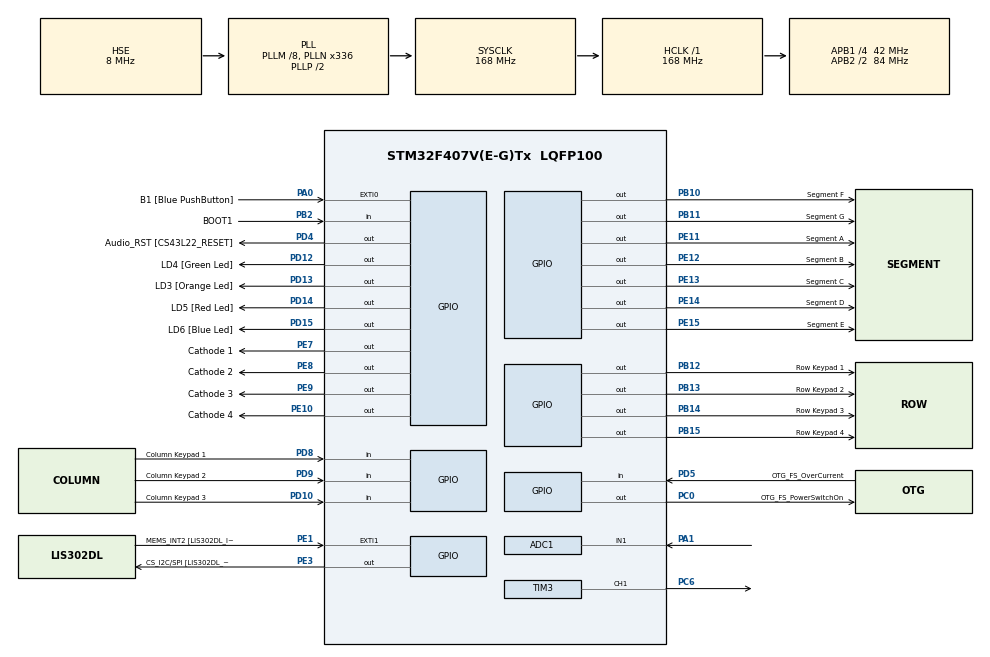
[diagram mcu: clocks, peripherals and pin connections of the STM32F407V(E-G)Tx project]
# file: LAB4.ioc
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ADC1.Channel-0\#ChannelRegularConversion=ADC_CHANNEL_1
ADC1.ClockPrescaler=ADC_CLOCK_SYNC_PCLK_DIV4
ADC1.ContinuousConvMode=DISABLE
ADC1.DMAContinuousRequests=DISABLE
ADC1.DataAlign=ADC_DATAALIGN_RIGHT
ADC1.DiscontinuousConvMode=DISABLE
ADC1.EOCSelection=ADC_EOC_SINGLE_CONV
ADC1.EnableAnalogWatchDog=false
ADC1.ExternalTrigConv=ADC_EXTERNALTRIGCONV_T3_TRGO
ADC1.ExternalTrigConvEdge=ADC_EXTERNALTRIGCONVEDGE_RISINGFALLING
ADC1.InjNumberOfConversion=0
ADC1.NbrOfConversion=1
ADC1.NbrOfConversionFlag=1
ADC1.Rank-0\#ChannelRegularConversion=1
ADC1.Resolution=ADC_RESOLUTION_8B
ADC1.SamplingTime-0\#ChannelRegularConversion=ADC_SAMPLETIME_3CYCLES
ADC1.ScanConvMode=DISABLE
ADC1.master=1
FREERTOS.BinarySemaphores01=myBinarySem01,Dynamic,NULL
FREERTOS.Tasks01=defaultTask,0,128,StartDefaultTask,Default,NULL,Dynamic,NULL,NULL;myTask02,-3,128,StartTask02,Default,NULL,Dynamic,NULL,NULL;myTask03,2,256,StartTask03,Default,NULL,Dynamic,NULL,NULL
Mcu.Family=STM32F4
Mcu.Name=STM32F407V(E-G)Tx
Mcu.Package=LQFP100
NVIC.ADC_IRQn=true\:5\:0\:false\:false\:true\:true\:true
NVIC.PriorityGroup=NVIC_PRIORITYGROUP_4
PA0-WKUP.GPIO_Label=B1 [Blue PushButton]
PA0-WKUP.Signal=GPXTI0
PA1.Signal=ADCx_IN1
PA10.GPIO_Label=OTG_FS_ID
PA10.GPIO_Mode=GPIO_MODE_AF_PP
PA10.GPIO_PuPd=GPIO_NOPULL
PA10.GPIO_Speed=GPIO_SPEED_FREQ_LOW
PA10.Signal=USB_OTG_FS_ID
PA11.GPIO_Label=OTG_FS_DM
PA11.GPIO_Mode=GPIO_MODE_AF_PP
PA11.GPIO_PuPd=GPIO_NOPULL
PA11.GPIO_Speed=GPIO_SPEED_FREQ_LOW
PA11.Signal=USB_OTG_FS_DM
PA12.GPIO_Label=OTG_FS_DP
PA12.GPIO_Mode=GPIO_MODE_AF_PP
PA12.GPIO_PuPd=GPIO_NOPULL
PA12.GPIO_Speed=GPIO_SPEED_FREQ_LOW
PA12.Signal=USB_OTG_FS_DP
PA13.GPIO_Label=SWDIO
PA13.Signal=SYS_JTMS-SWDIO
PA14.GPIO_Label=SWCLK
PA14.Signal=SYS_JTCK-SWCLK
PA4.GPIO_Label=I2S3_WS [CS43L22_LRCK]
PA4.GPIO_Mode=GPIO_MODE_AF_PP
PA4.GPIO_PuPd=GPIO_NOPULL
PA4.GPIO_Speed=GPIO_SPEED_FREQ_LOW
PA4.Signal=I2S3_WS
PA5.GPIO_Label=SPI1_SCK [LIS302DL_SCL/SPC]
PA5.GPIO_Mode=GPIO_MODE_AF_PP
PA5.GPIO_PuPd=GPIO_NOPULL
PA5.GPIO_Speed=GPIO_SPEED_FREQ_LOW
PA5.Signal=SPI1_SCK
PA6.GPIO_Label=SPI1_MISO [LIS302DL_SDO]
PA6.GPIO_Mode=GPIO_MODE_AF_PP
PA6.GPIO_PuPd=GPIO_NOPULL
PA6.GPIO_Speed=GPIO_SPEED_FREQ_LOW
PA6.Signal=SPI1_MISO
PA7.GPIO_Label=SPI1_MOSI [LIS302DL_SDA/SDI/SDO]
PA7.GPIO_Mode=GPIO_MODE_AF_PP
PA7.GPIO_PuPd=GPIO_NOPULL
PA7.GPIO_Speed=GPIO_SPEED_FREQ_LOW
PA7.Signal=SPI1_MOSI
PA9.GPIO_Label=VBUS_FS
PA9.GPIO_Mode=GPIO_MODE_INPUT
PA9.GPIO_PuPd=GPIO_NOPULL
PA9.Signal=USB_OTG_FS_VBUS
PB10.GPIO_Label=Segment F
PB10.Signal=GPIO_Output
PB11.GPIO_Label=Segment G
PB11.Signal=GPIO_Output
PB12.GPIO_Label=Row Keypad 1
PB12.Signal=GPIO_Output
PB13.GPIO_Label=Row Keypad 2
PB13.Signal=GPIO_Output
PB14.GPIO_Label=Row Keypad 3
PB14.Signal=GPIO_Output
PB15.GPIO_Label=Row Keypad 4
PB15.Signal=GPIO_Output
PB2.GPIO_Label=BOOT1
PB2.GPIO_Mode=GPIO_MODE_INPUT
PB2.GPIO_PuPd=GPIO_NOPULL
PB2.Signal=GPIO_Input
PB3.GPIO_Label=SWO
PB3.Signal=SYS_JTDO-SWO
PB6.GPIO_Label=Audio_SCL [CS43L22_SCL]
PB6.GPIO_Mode=GPIO_MODE_AF_OD
PB6.GPIO_PuPd=GPIO_NOPULL
PB6.GPIO_Speed=GPIO_SPEED_FREQ_LOW
PB6.Signal=I2C1_SCL
PB9.GPIO_Label=Audio_SDA [CS43L22_SDA]
PB9.GPIO_Mode=GPIO_MODE_AF_OD
PB9.GPIO_PuPd=GPIO_NOPULL
PB9.GPIO_Speed=GPIO_SPEED_FREQ_LOW
PB9.Signal=I2C1_SDA
PC0.GPIO_Label=OTG_FS_PowerSwitchOn
PC0.GPIO_PuPd=GPIO_NOPULL
PC0.GPIO_Speed=GPIO_SPEED_FREQ_LOW
PC0.PinState=GPIO_PIN_SET
PC0.Signal=GPIO_Output
PC10.GPIO_Label=I2S3_SCK [CS43L22_SCLK]
PC10.GPIO_Mode=GPIO_MODE_AF_PP
PC10.GPIO_PuPd=GPIO_NOPULL
PC10.GPIO_Speed=GPIO_SPEED_FREQ_LOW
PC10.Signal=I2S3_CK
PC12.GPIO_Label=I2S3_SD [CS43L22_SDIN]
PC12.GPIO_Mode=GPIO_MODE_AF_PP
PC12.GPIO_PuPd=GPIO_NOPULL
PC12.GPIO_Speed=GPIO_SPEED_FREQ_LOW
PC12.Signal=I2S3_SD
PC14-OSC32_IN.GPIO_Label=PC14-OSC32_IN
PC14-OSC32_IN.Signal=RCC_OSC32_IN
PC15-OSC32_OUT.GPIO_Label=PC15-OSC32_OUT
PC15-OSC32_OUT.Signal=RCC_OSC32_OUT
PC3.GPIO_Label=PDM_OUT [MP45DT02_DOUT]
PC3.GPIO_Mode=GPIO_MODE_AF_PP
PC3.GPIO_PuPd=GPIO_NOPULL
PC3.GPIO_Speed=GPIO_SPEED_FREQ_LOW
PC3.Signal=I2S2_SD
PC6.Signal=S_TIM3_CH1
PC7.GPIO_Label=I2S3_MCK [CS43L22_MCLK]
PC7.GPIO_Mode=GPIO_MODE_AF_PP
PC7.GPIO_PuPd=GPIO_NOPULL
PC7.GPIO_Speed=GPIO_SPEED_FREQ_LOW
PC7.Signal=I2S3_MCK
PD10.GPIO_Label=Column Keypad 3
PD10.Signal=GPIO_Input
PD12.GPIO_Label=LD4 [Green Led]
PD12.GPIO_PuPd=GPIO_NOPULL
PD12.GPIO_Speed=GPIO_SPEED_FREQ_LOW
PD12.Signal=GPIO_Output
PD13.GPIO_Label=LD3 [Orange Led]
PD13.GPIO_PuPd=GPIO_NOPULL
PD13.GPIO_Speed=GPIO_SPEED_FREQ_LOW
PD13.Signal=GPIO_Output
PD14.GPIO_Label=LD5 [Red Led]
PD14.GPIO_PuPd=GPIO_NOPULL
PD14.GPIO_Speed=GPIO_SPEED_FREQ_LOW
PD14.Signal=GPIO_Output
PD15.GPIO_Label=LD6 [Blue Led]
PD15.GPIO_PuPd=GPIO_NOPULL
PD15.GPIO_Speed=GPIO_SPEED_FREQ_LOW
PD15.Signal=GPIO_Output
PD4.GPIO_Label=Audio_RST [CS43L22_RESET]
PD4.GPIO_PuPd=GPIO_NOPULL
PD4.GPIO_Speed=GPIO_SPEED_FREQ_LOW
PD4.Signal=GPIO_Output
PD5.GPIO_Label=OTG_FS_OverCurrent
PD5.GPIO_Mode=GPIO_MODE_INPUT
PD5.GPIO_PuPd=GPIO_NOPULL
PD5.Signal=GPIO_Input
PD8.GPIO_Label=Column Keypad 1
PD8.Signal=GPIO_Input
PD9.GPIO_Label=Column Keypad 2
PD9.Signal=GPIO_Input
PE1.GPIO_Label=MEMS_INT2 [LIS302DL_INT2]
PE1.GPIO_ModeDefaultEXTI=GPIO_MODE_EVT_RISING
PE1.GPIO_PuPd=GPIO_NOPULL
PE1.Signal=GPXTI1
PE10.GPIO_Label=Cathode 4
PE10.Signal=GPIO_Output
PE11.GPIO_Label=Segment A
PE11.Signal=GPIO_Output
PE12.GPIO_Label=Segment B
PE12.Signal=GPIO_Output
PE13.GPIO_Label=Segment C
PE13.Signal=GPIO_Output
PE14.GPIO_Label=Segment D
PE14.Signal=GPIO_Output
PE15.GPIO_Label=Segment E
PE15.Signal=GPIO_Output
PE3.GPIO_Label=CS_I2C/SPI [LIS302DL_CS_I2C/SPI]
PE3.GPIO_PuPd=GPIO_NOPULL
PE3.GPIO_Speed=GPIO_SPEED_FREQ_LOW
PE3.Signal=GPIO_Output
PE7.GPIO_Label=Cathode 1
PE7.Signal=GPIO_Output
PE8.GPIO_Label=Cathode 2
PE8.Signal=GPIO_Output
PE9.GPIO_Label=Cathode 3
PE9.Signal=GPIO_Output
PH0-OSC_IN.GPIO_Label=PH0-OSC_IN
PH0-OSC_IN.Mode=HSE-External-Oscillator
PH0-OSC_IN.Signal=RCC_OSC_IN
PH1-OSC_OUT.GPIO_Label=PH1-OSC_OUT
PH1-OSC_OUT.Mode=HSE-External-Oscillator
PH1-OSC_OUT.Signal=RCC_OSC_OUT
ProjectManager.HeapSize=0x200
ProjectManager.StackSize=0x400
ProjectManager.TargetToolchain=MDK-ARM V5
RCC.48MHZClocksFreq_Value=48000000
RCC.AHBFreq_Value=168000000
RCC.APB1CLKDivider=RCC_HCLK_DIV4
RCC.APB1Freq_Value=42000000
RCC.APB1TimFreq_Value=84000000
RCC.APB2CLKDivider=RCC_HCLK_DIV2
RCC.APB2Freq_Value=84000000
RCC.APB2TimFreq_Value=168000000
RCC.CortexFreq_Value=168000000
RCC.HCLKFreq_Value=168000000
RCC.HSE_VALUE=8000000
RCC.HSI_VALUE=16000000
RCC.LSE_VALUE=32768
RCC.PLLM=8
RCC.PLLN=336
RCC.PLLQ=7
RCC.PLLSourceVirtual=RCC_PLLSOURCE_HSE
RCC.SYSCLKFreq_VALUE=168000000
RCC.SYSCLKSource=RCC_SYSCLKSOURCE_PLLCLK
RCC.VCOOutputFreq_Value=336000000
SH.ADCx_IN1.0=ADC1_IN1,IN1
SH.S_TIM3_CH1.0=TIM3_CH1,PWM Generation1 CH1
TIM3.Channel-PWM\ Generation1\ CH1=TIM_CHANNEL_1
TIM3.TIM_MasterOutputTrigger=TIM_TRGO_UPDATE
VP_FREERTOS_VS_ENABLE.Mode=Enabled
VP_TIM3_VS_ClockSourceINT.Mode=Internal
board=STM32F4DISCOVERY

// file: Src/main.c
/**
  ******************************************************************************
  * File Name          : main.c
  * Description        : Main program body
  ******************************************************************************
  * This notice applies to any and all portions of this file
  * that are not between comment pairs USER CODE BEGIN and
  * USER CODE END. Other portions of this file, whether
  * inserted by the user or by software development tools
  * are owned by their respective copyright owners.
  *
  * Copyright (c) 2018 STMicroelectronics International N.V.
  * All rights reserved.
  *
  * Redistribution and use in source and binary forms, with or without
  * modification, are permitted, provided that the following conditions are met:
  *
  * 1. Redistribution of source code must retain the above copyright notice,
  *    this list of conditions and the following disclaimer.
  * 2. Redistributions in binary form must reproduce the above copyright notice,
  *    this list of conditions and the following disclaimer in the documentation
  *    and/or other materials provided with the distribution.
  * 3. Neither the name of STMicroelectronics nor the names of other
  *    contributors to this software may be used to endorse or promote products
  *    derived from this software without specific written permission.
  * 4. This software, including modifications and/or derivative works of this
  *    software, must execute solely and exclusively on microcontroller or
  *    microprocessor devices manufactured by or for STMicroelectronics.
  * 5. Redistribution and use of this software other than as permitted under
  *    this license is void and will automatically terminate your rights under
  *    this license.
  *
  * THIS SOFTWARE IS PROVIDED BY STMICROELECTRONICS AND CONTRIBUTORS "AS IS"
  * AND ANY EXPRESS, IMPLIED OR STATUTORY WARRANTIES, INCLUDING, BUT NOT
  * LIMITED TO, THE IMPLIED WARRANTIES OF MERCHANTABILITY, FITNESS FOR A
  * PARTICULAR PURPOSE AND NON-INFRINGEMENT OF THIRD PARTY INTELLECTUAL PROPERTY
  * RIGHTS ARE DISCLAIMED TO THE FULLEST EXTENT PERMITTED BY LAW. IN NO EVENT
  * SHALL STMICROELECTRONICS OR CONTRIBUTORS BE LIABLE FOR ANY DIRECT, INDIRECT,
  * INCIDENTAL, SPECIAL, EXEMPLARY, OR CONSEQUENTIAL DAMAGES (INCLUDING, BUT NOT
  * LIMITED TO, PROCUREMENT OF SUBSTITUTE GOODS OR SERVICES; LOSS OF USE, DATA,
  * OR PROFITS; OR BUSINESS INTERRUPTION) HOWEVER CAUSED AND ON ANY THEORY OF
  * LIABILITY, WHETHER IN CONTRACT, STRICT LIABILITY, OR TORT (INCLUDING
  * NEGLIGENCE OR OTHERWISE) ARISING IN ANY WAY OUT OF THE USE OF THIS SOFTWARE,
  * EVEN IF ADVISED OF THE POSSIBILITY OF SUCH DAMAGE.
  *
  ******************************************************************************
  */
#include "main.h"
#include "stm32f4xx_hal.h"
#include "cmsis_os.h"
#include "math.h"

ADC_HandleTypeDef hadc1;
TIM_HandleTypeDef htim3;

osThreadId generalTimerThread;
osThreadId keypadTimerThread;
osThreadId stateThread;
osThreadId displayThread;
osThreadId keypadButtonThread;

osSemaphoreId myBinarySem01Handle;
osSemaphoreId keyboardButtonSemaphore;

/* USER CODE BEGIN PV */
/* Private variables ---------------------------------------------------------*/
uint32_t adcConversion = 0;
uint32_t buttonSignal = 0;
uint32_t displaySignal = 0;
uint32_t sleepSignal = 0;
int buttonPressed;
int buttonPressedOld;
int key;
int keypadMatrix[3][4] = {{1,4,7,10}, {2,5,8,0},{3,6,9,11}}; //10 = star, 11 = pound
int state; //state for keypad
float mathInput;
float mathOutput;
int x[5] = {0};
float rms_value = 0;
float filterOutput;
int keyReadTrigger; //timer for debouncing for keypad
int displaySwitchTrigger; //triggers the switch between LEDs
int timer;
int counter;
int last_counter;
int ledPosition;
int outputDigits[4];
int keyValid = 0; //flag for normal key
int sleepKey = 0; //flag for putting keypad to sleep or waking up
int restartKey = 0; //flag for restarting keypad
int holdCount = 0; //timer for restarting keypad
int sleepCount = 0; //timer for putting keypad to sleep or waking up
float controllerTarget;
float error;
int pulseWidth;
int valueReturned;

/* USER CODE END PV */

void SystemClock_Config(void);
static void MX_GPIO_Init(void);
static void MX_TIM3_Init(void);
static void MX_ADC1_Init(void);

void generalTimer(void const * argument);
void keypadTimer(void const * argument);
void stateController(void const * argument);
void getKeypadValue(void const *argument);
void ledDriver(void const *argument);

osThreadDef(timerThread, generalTimer, osPriorityHigh, 0, 128); //timer priority MUST be high
osThreadDef(keyTimerThread, keypadTimer, osPriorityHigh, 0, 128); //timer priority MUST be high
osThreadDef(fsmThread, stateController, osPriorityNormal, 0, 256);
osThreadDef(buttonThread, getKeypadValue, osPriorityNormal, 0, 256);
osThreadDef(ledThread, ledDriver, osPriorityNormal, 0, 128);

void HAL_TIM_MspPostInit(TIM_HandleTypeDef *htim);

/* USER CODE BEGIN PFP */
/* Private function prototypes -----------------------------------------------*/
void pwmSetValue(uint16_t pulseValue);
void valueParse(float mathOutput);
void c_math(float input);
void FIR_C(uint32_t input, float* filterOutput);
void pwmController(float input, float output);

/* USER CODE END PFP */

int main(void)
{

  /* MCU Configuration----------------------------------------------------------*/

  /* Reset of all peripherals, Initializes the Flash interface and the Systick. */
  HAL_Init();

  /* Configure the system clock */
  SystemClock_Config();

  /* Initialize all configured peripherals */
  MX_GPIO_Init();
  MX_TIM3_Init();
  MX_ADC1_Init();

  /* USER CODE BEGIN 2 */

	/* Start timer for PWM generation */
	HAL_TIM_PWM_Start(&htim3, TIM_CHANNEL_1);
	/* Start ADC interrupt triggered by timer */
	HAL_ADC_Start_IT(&hadc1);

  /* USER CODE END 2 */
	state = 1;
  /* USER CODE END 2 */

  /* Create the semaphores(s) */
  osSemaphoreDef(myBinarySem01);
	myBinarySem01Handle = osSemaphoreCreate(osSemaphore(myBinarySem01), 1);

	osSemaphoreDef(keyboardButtonSem);
	keyboardButtonSemaphore = osSemaphoreCreate(osSemaphore(keyboardButtonSem), 1);

	/* Create the thread(s) */
	generalTimerThread = osThreadCreate(osThread(timerThread), NULL);

	keypadTimerThread = osThreadCreate(osThread(keyTimerThread), NULL);

	stateThread = osThreadCreate(osThread(fsmThread), NULL);

	displayThread = osThreadCreate(osThread(ledThread), NULL);

	keypadButtonThread = osThreadCreate(osThread(buttonThread), NULL);

  /* Start scheduler */
  osKernelStart();

  /* We should never get here as control is now taken by the scheduler */

  /* Infinite loop */
  while (1)
  {

  }

}

/** System Clock Configuration
*/
void SystemClock_Config(void)
{

  RCC_OscInitTypeDef RCC_OscInitStruct;
  RCC_ClkInitTypeDef RCC_ClkInitStruct;

    /**Configure the main internal regulator output voltage
    */
  __HAL_RCC_PWR_CLK_ENABLE();

  __HAL_PWR_VOLTAGESCALING_CONFIG(PWR_REGULATOR_VOLTAGE_SCALE1);

    /**Initializes the CPU, AHB and APB busses clocks
    */
  RCC_OscInitStruct.OscillatorType = RCC_OSCILLATORTYPE_HSE;
  RCC_OscInitStruct.HSEState = RCC_HSE_ON;
  RCC_OscInitStruct.PLL.PLLState = RCC_PLL_ON;
  RCC_OscInitStruct.PLL.PLLSource = RCC_PLLSOURCE_HSE;
  RCC_OscInitStruct.PLL.PLLM = 8;
  RCC_OscInitStruct.PLL.PLLN = 336;
  RCC_OscInitStruct.PLL.PLLP = RCC_PLLP_DIV2;
  RCC_OscInitStruct.PLL.PLLQ = 7;
  if (HAL_RCC_OscConfig(&RCC_OscInitStruct) != HAL_OK)
  {
    _Error_Handler(__FILE__, __LINE__);
  }

    /**Initializes the CPU, AHB and APB busses clocks
    */
  RCC_ClkInitStruct.ClockType = RCC_CLOCKTYPE_HCLK|RCC_CLOCKTYPE_SYSCLK
                              |RCC_CLOCKTYPE_PCLK1|RCC_CLOCKTYPE_PCLK2;
  RCC_ClkInitStruct.SYSCLKSource = RCC_SYSCLKSOURCE_PLLCLK;
  RCC_ClkInitStruct.AHBCLKDivider = RCC_SYSCLK_DIV1;
  RCC_ClkInitStruct.APB1CLKDivider = RCC_HCLK_DIV4;
  RCC_ClkInitStruct.APB2CLKDivider = RCC_HCLK_DIV2;

  if (HAL_RCC_ClockConfig(&RCC_ClkInitStruct, FLASH_LATENCY_5) != HAL_OK)
  {
    _Error_Handler(__FILE__, __LINE__);
  }

    /**Configure the Systick interrupt time
    */
  HAL_SYSTICK_Config(HAL_RCC_GetHCLKFreq()/1000);

    /**Configure the Systick
    */
  HAL_SYSTICK_CLKSourceConfig(SYSTICK_CLKSOURCE_HCLK);

  /* SysTick_IRQn interrupt configuration */
  HAL_NVIC_SetPriority(SysTick_IRQn, 15, 0);
}

/* ADC1 init function */
static void MX_ADC1_Init(void)
{

  ADC_ChannelConfTypeDef sConfig;

    /**Configure the global features of the ADC (Clock, Resolution, Data Alignment and valueReturned of conversion)
    */
  hadc1.Instance = ADC1;
  hadc1.Init.ClockPrescaler = ADC_CLOCK_SYNC_PCLK_DIV4;
  hadc1.Init.Resolution = ADC_RESOLUTION_8B;
  hadc1.Init.ScanConvMode = DISABLE;
  hadc1.Init.ContinuousConvMode = DISABLE;
  hadc1.Init.DiscontinuousConvMode = DISABLE;
  hadc1.Init.ExternalTrigConvEdge = ADC_EXTERNALTRIGCONVEDGE_RISINGFALLING;
  hadc1.Init.ExternalTrigConv = ADC_EXTERNALTRIGCONV_T3_TRGO;
  hadc1.Init.DataAlign = ADC_DATAALIGN_RIGHT;
  hadc1.Init.NbrOfConversion = 1;
  hadc1.Init.DMAContinuousRequests = DISABLE;
  hadc1.Init.EOCSelection = ADC_EOC_SINGLE_CONV;
  if (HAL_ADC_Init(&hadc1) != HAL_OK)
  {
    _Error_Handler(__FILE__, __LINE__);
  }

    /**Configure for the selected ADC regular channel its corresponding rank in the sequencer and its sample time.
    */
  sConfig.Channel = ADC_CHANNEL_1;
  sConfig.Rank = 1;
  sConfig.SamplingTime = ADC_SAMPLETIME_3CYCLES;
  if (HAL_ADC_ConfigChannel(&hadc1, &sConfig) != HAL_OK)
  {
    _Error_Handler(__FILE__, __LINE__);
  }

}

/* TIM3 init function */
static void MX_TIM3_Init(void)
{

  TIM_ClockConfigTypeDef sClockSourceConfig;
  TIM_MasterConfigTypeDef sMasterConfig;
  TIM_OC_InitTypeDef sConfigOC;

  htim3.Instance = TIM3;
  htim3.Init.Prescaler = 0;
  htim3.Init.CounterMode = TIM_COUNTERMODE_UP;
  htim3.Init.Period = 8399;
  htim3.Init.ClockDivision = TIM_CLOCKDIVISION_DIV1;
  if (HAL_TIM_Base_Init(&htim3) != HAL_OK)
  {
    _Error_Handler(__FILE__, __LINE__);
  }

  sClockSourceConfig.ClockSource = TIM_CLOCKSOURCE_INTERNAL;
  if (HAL_TIM_ConfigClockSource(&htim3, &sClockSourceConfig) != HAL_OK)
  {
    _Error_Handler(__FILE__, __LINE__);
  }

  if (HAL_TIM_PWM_Init(&htim3) != HAL_OK)
  {
    _Error_Handler(__FILE__, __LINE__);
  }

  sMasterConfig.MasterOutputTrigger = TIM_TRGO_UPDATE;
  sMasterConfig.MasterSlaveMode = TIM_MASTERSLAVEMODE_DISABLE;
  if (HAL_TIMEx_MasterConfigSynchronization(&htim3, &sMasterConfig) != HAL_OK)
  {
    _Error_Handler(__FILE__, __LINE__);
  }

  sConfigOC.OCMode = TIM_OCMODE_PWM1;
  sConfigOC.Pulse = 0;
  sConfigOC.OCPolarity = TIM_OCPOLARITY_HIGH;
  sConfigOC.OCFastMode = TIM_OCFAST_DISABLE;
  if (HAL_TIM_PWM_ConfigChannel(&htim3, &sConfigOC, TIM_CHANNEL_1) != HAL_OK)
  {
    _Error_Handler(__FILE__, __LINE__);
  }

  HAL_TIM_MspPostInit(&htim3);

}

/** Configure pins as
        * Analog
        * Input
        * Output
        * EVENT_OUT
        * EXTI
     PC3   ------> I2S2_SD
     PA4   ------> I2S3_WS
     PA5   ------> SPI1_SCK
     PA6   ------> SPI1_MISO
     PA7   ------> SPI1_MOSI
     PC7   ------> I2S3_MCK
     PA9   ------> USB_OTG_FS_VBUS
     PA10   ------> USB_OTG_FS_ID
     PA11   ------> USB_OTG_FS_DM
     PA12   ------> USB_OTG_FS_DP
     PC10   ------> I2S3_CK
     PC12   ------> I2S3_SD
     PB6   ------> I2C1_SCL
     PB9   ------> I2C1_SDA
*/
static void MX_GPIO_Init(void)
{

  GPIO_InitTypeDef GPIO_InitStruct;

  /* GPIO Ports Clock Enable */
  __HAL_RCC_GPIOE_CLK_ENABLE();
  __HAL_RCC_GPIOC_CLK_ENABLE();
  __HAL_RCC_GPIOH_CLK_ENABLE();
  __HAL_RCC_GPIOA_CLK_ENABLE();
  __HAL_RCC_GPIOB_CLK_ENABLE();
  __HAL_RCC_GPIOD_CLK_ENABLE();

  /*Configure GPIO pin Output Level */
  HAL_GPIO_WritePin(GPIOE, CS_I2C_SPI_Pin|GPIO_PIN_7|GPIO_PIN_8|GPIO_PIN_9|GPIO_PIN_10
                          |GPIO_PIN_11|GPIO_PIN_12|GPIO_PIN_13|GPIO_PIN_14
                          |GPIO_PIN_15, GPIO_PIN_RESET);

  /*Configure GPIO pin Output Level */
  HAL_GPIO_WritePin(OTG_FS_PowerSwitchOn_GPIO_Port, OTG_FS_PowerSwitchOn_Pin, GPIO_PIN_SET);

  /*Configure GPIO pin Output Level */
  HAL_GPIO_WritePin(GPIOB, GPIO_PIN_10|GPIO_PIN_11|GPIO_PIN_12|GPIO_PIN_13|GPIO_PIN_14|GPIO_PIN_15, GPIO_PIN_RESET);

  /*Configure GPIO pin Output Level */
  HAL_GPIO_WritePin(GPIOD, LD4_Pin|LD3_Pin|LD5_Pin|LD6_Pin
                          |Audio_RST_Pin, GPIO_PIN_RESET);

  /*Configure GPIO pins : CS_I2C_SPI_Pin Cathode_1_Pin Cathode_2_Pin Cathode_3_Pin
                           Cathode_4_Pin Segment_A_Pin Segment_B_Pin Segment_C_Pin
                           Segment_D_Pin Segment_E_Pin */
  GPIO_InitStruct.Pin = CS_I2C_SPI_Pin|GPIO_PIN_7|GPIO_PIN_8|GPIO_PIN_9|GPIO_PIN_10
                          |GPIO_PIN_11|GPIO_PIN_12|GPIO_PIN_13|GPIO_PIN_14
                          |GPIO_PIN_15;
  GPIO_InitStruct.Mode = GPIO_MODE_OUTPUT_PP;
  GPIO_InitStruct.Pull = GPIO_NOPULL;
  GPIO_InitStruct.Speed = GPIO_SPEED_FREQ_LOW;
  HAL_GPIO_Init(GPIOE, &GPIO_InitStruct);

  /*Configure GPIO pin : OTG_FS_PowerSwitchOn_Pin */
  GPIO_InitStruct.Pin = OTG_FS_PowerSwitchOn_Pin;
  GPIO_InitStruct.Mode = GPIO_MODE_OUTPUT_PP;
  GPIO_InitStruct.Pull = GPIO_NOPULL;
  GPIO_InitStruct.Speed = GPIO_SPEED_FREQ_LOW;
  HAL_GPIO_Init(OTG_FS_PowerSwitchOn_GPIO_Port, &GPIO_InitStruct);

  /*Configure GPIO pin : PDM_OUT_Pin */
  GPIO_InitStruct.Pin = PDM_OUT_Pin;
  GPIO_InitStruct.Mode = GPIO_MODE_AF_PP;
  GPIO_InitStruct.Pull = GPIO_NOPULL;
  GPIO_InitStruct.Speed = GPIO_SPEED_FREQ_LOW;
  GPIO_InitStruct.Alternate = GPIO_AF5_SPI2;
  HAL_GPIO_Init(PDM_OUT_GPIO_Port, &GPIO_InitStruct);

  /*Configure GPIO pin : B1_Pin */
  GPIO_InitStruct.Pin = B1_Pin;
  GPIO_InitStruct.Mode = GPIO_MODE_IT_RISING;
  GPIO_InitStruct.Pull = GPIO_NOPULL;
  HAL_GPIO_Init(B1_GPIO_Port, &GPIO_InitStruct);

  /*Configure GPIO pin : I2S3_WS_Pin */
  GPIO_InitStruct.Pin = I2S3_WS_Pin;
  GPIO_InitStruct.Mode = GPIO_MODE_AF_PP;
  GPIO_InitStruct.Pull = GPIO_NOPULL;
  GPIO_InitStruct.Speed = GPIO_SPEED_FREQ_LOW;
  GPIO_InitStruct.Alternate = GPIO_AF6_SPI3;
  HAL_GPIO_Init(I2S3_WS_GPIO_Port, &GPIO_InitStruct);

  /*Configure GPIO pins : SPI1_SCK_Pin SPI1_MISO_Pin SPI1_MOSI_Pin */
  GPIO_InitStruct.Pin = SPI1_SCK_Pin|SPI1_MISO_Pin|SPI1_MOSI_Pin;
  GPIO_InitStruct.Mode = GPIO_MODE_AF_PP;
  GPIO_InitStruct.Pull = GPIO_NOPULL;
  GPIO_InitStruct.Speed = GPIO_SPEED_FREQ_LOW;
  GPIO_InitStruct.Alternate = GPIO_AF5_SPI1;
  HAL_GPIO_Init(GPIOA, &GPIO_InitStruct);

  /*Configure GPIO pin : BOOT1_Pin */
  GPIO_InitStruct.Pin = BOOT1_Pin;
  GPIO_InitStruct.Mode = GPIO_MODE_INPUT;
  GPIO_InitStruct.Pull = GPIO_NOPULL;
  HAL_GPIO_Init(BOOT1_GPIO_Port, &GPIO_InitStruct);

  /*Configure GPIO pins : Segment_F_Pin Segment_G_Pin Row_Keypad_1_Pin Row_Keypad_2_Pin
                           Row_Keypad_3_Pin Row_Keypad_4_Pin */
  GPIO_InitStruct.Pin = GPIO_PIN_10|GPIO_PIN_11|GPIO_PIN_12|GPIO_PIN_13|GPIO_PIN_14|GPIO_PIN_15;
  GPIO_InitStruct.Mode = GPIO_MODE_OUTPUT_PP;
  GPIO_InitStruct.Pull = GPIO_NOPULL;
  GPIO_InitStruct.Speed = GPIO_SPEED_FREQ_LOW;
  HAL_GPIO_Init(GPIOB, &GPIO_InitStruct);

  /*Configure GPIO pins : Column_Keypad_1_Pin Column_Keypad_2_Pin Column_Keypad_3_Pin OTG_FS_OverCurrent_Pin */
  GPIO_InitStruct.Pin = GPIO_PIN_8|GPIO_PIN_9|GPIO_PIN_10|OTG_FS_OverCurrent_Pin;
  GPIO_InitStruct.Mode = GPIO_MODE_INPUT;
  GPIO_InitStruct.Pull = GPIO_PULLDOWN;
  HAL_GPIO_Init(GPIOD, &GPIO_InitStruct);

  /*Configure GPIO pins : LD4_Pin LD3_Pin LD5_Pin LD6_Pin
                           Audio_RST_Pin */
  GPIO_InitStruct.Pin = LD4_Pin|LD3_Pin|LD5_Pin|LD6_Pin
                          |Audio_RST_Pin;
  GPIO_InitStruct.Mode = GPIO_MODE_OUTPUT_PP;
  GPIO_InitStruct.Pull = GPIO_NOPULL;
  GPIO_InitStruct.Speed = GPIO_SPEED_FREQ_LOW;
  HAL_GPIO_Init(GPIOD, &GPIO_InitStruct);

  /*Configure GPIO pins : I2S3_MCK_Pin I2S3_SCK_Pin I2S3_SD_Pin */
  GPIO_InitStruct.Pin = I2S3_MCK_Pin|I2S3_SCK_Pin|I2S3_SD_Pin;
  GPIO_InitStruct.Mode = GPIO_MODE_AF_PP;
  GPIO_InitStruct.Pull = GPIO_NOPULL;
  GPIO_InitStruct.Speed = GPIO_SPEED_FREQ_LOW;
  GPIO_InitStruct.Alternate = GPIO_AF6_SPI3;
  HAL_GPIO_Init(GPIOC, &GPIO_InitStruct);

  /*Configure GPIO pin : VBUS_FS_Pin */
  GPIO_InitStruct.Pin = VBUS_FS_Pin;
  GPIO_InitStruct.Mode = GPIO_MODE_INPUT;
  GPIO_InitStruct.Pull = GPIO_NOPULL;
  HAL_GPIO_Init(VBUS_FS_GPIO_Port, &GPIO_InitStruct);

  /*Configure GPIO pins : OTG_FS_ID_Pin OTG_FS_DM_Pin OTG_FS_DP_Pin */
  GPIO_InitStruct.Pin = OTG_FS_ID_Pin|OTG_FS_DM_Pin|OTG_FS_DP_Pin;
  GPIO_InitStruct.Mode = GPIO_MODE_AF_PP;
  GPIO_InitStruct.Pull = GPIO_NOPULL;
  GPIO_InitStruct.Speed = GPIO_SPEED_FREQ_LOW;
  GPIO_InitStruct.Alternate = GPIO_AF10_OTG_FS;
  HAL_GPIO_Init(GPIOA, &GPIO_InitStruct);

  /*Configure GPIO pins : Audio_SCL_Pin Audio_SDA_Pin */
  GPIO_InitStruct.Pin = Audio_SCL_Pin|Audio_SDA_Pin;
  GPIO_InitStruct.Mode = GPIO_MODE_AF_OD;
  GPIO_InitStruct.Pull = GPIO_PULLUP;
  GPIO_InitStruct.Speed = GPIO_SPEED_FREQ_LOW;
  GPIO_InitStruct.Alternate = GPIO_AF4_I2C1;
  HAL_GPIO_Init(GPIOB, &GPIO_InitStruct);

  /*Configure GPIO pin : MEMS_INT2_Pin */
  GPIO_InitStruct.Pin = MEMS_INT2_Pin;
  GPIO_InitStruct.Mode = GPIO_MODE_EVT_RISING;
  GPIO_InitStruct.Pull = GPIO_NOPULL;
  HAL_GPIO_Init(MEMS_INT2_GPIO_Port, &GPIO_InitStruct);

}

/* USER CODE BEGIN 4 */
/**
  * @brief  Timer thread for display
  */
void generalTimer(void const * argument) {
	while(1) {
		osDelay(1);
		displaySwitchTrigger++;
		if(displaySwitchTrigger >= LED_POSITION_TIMER) {
			displaySwitchTrigger = 0;
			ledPosition++;
			/*reset to 0 when ledPosition reaches 4*/
			ledPosition = ledPosition % 4;
			/*set signal for LED display to turn on*/
			osSignalSet(displayThread,displaySignal);
		}
	}
}

/**
  * @brief  Timer thread for keypad
  */
void keypadTimer(void const * argument) {
	while(1) {
		//debouncing
		osDelay(KEY_TIMER);
		if(valueReturned > -1 && valueReturned < 12) {
			keyValid = 1;
			if(valueReturned == 10 || valueReturned == 11) {
				sleepCount++;
				holdCount++;
				/*if held for more 1-2 seconds, turn on reset mode*/
				if(holdCount >= KEY_TIMER*1.5) {
					restartKey = 1;
					holdCount = 0;
				}
				/*if held for more than 4 seconds, turn on sleep mode or wakeup from sleep*/
				if(sleepCount >= KEY_TIMER*2) {
					sleepKey = 1;
					sleepCount = 0;
					/*if in sleep mode -> waking up, turn on threads*/
					if(state == 0) {
						/* Start timer for PWM generation */
						HAL_TIM_PWM_Start(&htim3, TIM_CHANNEL_1);
						/* Start ADC interrupt triggered by timer */
						HAL_ADC_Start_IT(&hadc1);

						generalTimerThread = osThreadCreate(osThread(timerThread), NULL);
						stateThread = osThreadCreate(osThread(fsmThread), NULL);
						displayThread = osThreadCreate(osThread(ledThread), NULL);
						sleepKey = 0;
						state = 1;
					}
				}
			}
		}
		else if(valueReturned == -1) {
			holdCount = 0;
			sleepCount = 0;
		}
	}
}

/**
  * @brief  Thread for LED display
  */
void ledDriver(void const * argument){
	int number = -1;
	while(1) {
		/*wait for display signal from general timer thread*/
		osSignalWait(displaySignal,osWaitForever);
		displaySignal = 0;
		number = outputDigits[ledPosition];
		if(state > 0) {
			if(number == 0){
					HAL_GPIO_WritePin(SEGMENT_A, GPIO_PIN_SET);
					HAL_GPIO_WritePin(SEGMENT_B, GPIO_PIN_SET);
					HAL_GPIO_WritePin(SEGMENT_C, GPIO_PIN_SET);
					HAL_GPIO_WritePin(SEGMENT_D, GPIO_PIN_SET);
					HAL_GPIO_WritePin(SEGMENT_E, GPIO_PIN_SET);
					HAL_GPIO_WritePin(SEGMENT_F, GPIO_PIN_SET);
					HAL_GPIO_WritePin(SEGMENT_G, GPIO_PIN_RESET);
			}
			else if(number == 1){
					HAL_GPIO_WritePin(SEGMENT_A, GPIO_PIN_RESET);
					HAL_GPIO_WritePin(SEGMENT_B, GPIO_PIN_SET);
					HAL_GPIO_WritePin(SEGMENT_C, GPIO_PIN_SET);
					HAL_GPIO_WritePin(SEGMENT_D, GPIO_PIN_RESET);
					HAL_GPIO_WritePin(SEGMENT_E, GPIO_PIN_RESET);
					HAL_GPIO_WritePin(SEGMENT_F, GPIO_PIN_RESET);
					HAL_GPIO_WritePin(SEGMENT_G, GPIO_PIN_RESET);
			}
			else if(number == 2){
					HAL_GPIO_WritePin(SEGMENT_A, GPIO_PIN_SET);
					HAL_GPIO_WritePin(SEGMENT_B, GPIO_PIN_SET);
					HAL_GPIO_WritePin(SEGMENT_C, GPIO_PIN_RESET);
					HAL_GPIO_WritePin(SEGMENT_D, GPIO_PIN_SET);
					HAL_GPIO_WritePin(SEGMENT_E, GPIO_PIN_SET);
					HAL_GPIO_WritePin(SEGMENT_F, GPIO_PIN_RESET);
					HAL_GPIO_WritePin(SEGMENT_G, GPIO_PIN_SET);
			}
			else if(number == 3){
					HAL_GPIO_WritePin(SEGMENT_A, GPIO_PIN_SET);
					HAL_GPIO_WritePin(SEGMENT_B, GPIO_PIN_SET);
					HAL_GPIO_WritePin(SEGMENT_C, GPIO_PIN_SET);
					HAL_GPIO_WritePin(SEGMENT_D, GPIO_PIN_SET);
					HAL_GPIO_WritePin(SEGMENT_E, GPIO_PIN_RESET);
					HAL_GPIO_WritePin(SEGMENT_F, GPIO_PIN_RESET);
					HAL_GPIO_WritePin(SEGMENT_G, GPIO_PIN_SET);
			}
			else if(number == 4){
					HAL_GPIO_WritePin(SEGMENT_A, GPIO_PIN_RESET);
					HAL_GPIO_WritePin(SEGMENT_B, GPIO_PIN_SET);
					HAL_GPIO_WritePin(SEGMENT_C, GPIO_PIN_SET);
					HAL_GPIO_WritePin(SEGMENT_D, GPIO_PIN_RESET);
					HAL_GPIO_WritePin(SEGMENT_E, GPIO_PIN_RESET);
					HAL_GPIO_WritePin(SEGMENT_F, GPIO_PIN_SET);
					HAL_GPIO_WritePin(SEGMENT_G, GPIO_PIN_SET);
			}
			else if(number == 5){
					HAL_GPIO_WritePin(SEGMENT_A, GPIO_PIN_SET);
					HAL_GPIO_WritePin(SEGMENT_B, GPIO_PIN_RESET);
					HAL_GPIO_WritePin(SEGMENT_C, GPIO_PIN_SET);
					HAL_GPIO_WritePin(SEGMENT_D, GPIO_PIN_SET);
					HAL_GPIO_WritePin(SEGMENT_E, GPIO_PIN_RESET);
					HAL_GPIO_WritePin(SEGMENT_F, GPIO_PIN_SET);
					HAL_GPIO_WritePin(SEGMENT_G, GPIO_PIN_SET);
			}
			else if(number == 6){
					HAL_GPIO_WritePin(SEGMENT_A, GPIO_PIN_SET);
					HAL_GPIO_WritePin(SEGMENT_B, GPIO_PIN_RESET);
					HAL_GPIO_WritePin(SEGMENT_C, GPIO_PIN_SET);
					HAL_GPIO_WritePin(SEGMENT_D, GPIO_PIN_SET);
					HAL_GPIO_WritePin(SEGMENT_E, GPIO_PIN_SET);
					HAL_GPIO_WritePin(SEGMENT_F, GPIO_PIN_SET);
					HAL_GPIO_WritePin(SEGMENT_G, GPIO_PIN_SET);
			}
			else if(number == 7){
					HAL_GPIO_WritePin(SEGMENT_A, GPIO_PIN_SET);
					HAL_GPIO_WritePin(SEGMENT_B, GPIO_PIN_SET);
					HAL_GPIO_WritePin(SEGMENT_C, GPIO_PIN_SET);
					HAL_GPIO_WritePin(SEGMENT_D, GPIO_PIN_RESET);
					HAL_GPIO_WritePin(SEGMENT_E, GPIO_PIN_RESET);
					HAL_GPIO_WritePin(SEGMENT_F, GPIO_PIN_RESET);
					HAL_GPIO_WritePin(SEGMENT_G, GPIO_PIN_RESET);
			}
			else if(number == 8){
					HAL_GPIO_WritePin(SEGMENT_A, GPIO_PIN_SET);
					HAL_GPIO_WritePin(SEGMENT_B, GPIO_PIN_SET);
					HAL_GPIO_WritePin(SEGMENT_C, GPIO_PIN_SET);
					HAL_GPIO_WritePin(SEGMENT_D, GPIO_PIN_SET);
					HAL_GPIO_WritePin(SEGMENT_E, GPIO_PIN_SET);
					HAL_GPIO_WritePin(SEGMENT_F, GPIO_PIN_SET);
					HAL_GPIO_WritePin(SEGMENT_G, GPIO_PIN_SET);
			}
			else if(number == 9){
					HAL_GPIO_WritePin(SEGMENT_A, GPIO_PIN_SET);
					HAL_GPIO_WritePin(SEGMENT_B, GPIO_PIN_SET);
					HAL_GPIO_WritePin(SEGMENT_C, GPIO_PIN_SET);
					HAL_GPIO_WritePin(SEGMENT_D, GPIO_PIN_SET);
					HAL_GPIO_WritePin(SEGMENT_E, GPIO_PIN_RESET);
					HAL_GPIO_WritePin(SEGMENT_F, GPIO_PIN_SET);
					HAL_GPIO_WritePin(SEGMENT_G, GPIO_PIN_SET);
			}
			if(ledPosition == 0){
				HAL_GPIO_WritePin(CATHODE_1, GPIO_PIN_SET);
				HAL_GPIO_WritePin(CATHODE_2, GPIO_PIN_RESET);
				HAL_GPIO_WritePin(CATHODE_3, GPIO_PIN_RESET);
				HAL_GPIO_WritePin(CATHODE_4, GPIO_PIN_RESET);
			}
			else if(ledPosition == 1){ //position (X)XX
					HAL_GPIO_WritePin(CATHODE_1, GPIO_PIN_RESET);
					HAL_GPIO_WritePin(CATHODE_2, GPIO_PIN_SET);
					HAL_GPIO_WritePin(CATHODE_3, GPIO_PIN_RESET);
					HAL_GPIO_WritePin(CATHODE_4, GPIO_PIN_RESET);
			}
			else if(ledPosition == 2){		//position X(X)X
					HAL_GPIO_WritePin(CATHODE_1, GPIO_PIN_RESET);
					HAL_GPIO_WritePin(CATHODE_2, GPIO_PIN_RESET);
					HAL_GPIO_WritePin(CATHODE_3, GPIO_PIN_SET);
					HAL_GPIO_WritePin(CATHODE_4, GPIO_PIN_RESET);
			}
			else if(ledPosition == 3){//position XX(X)
					HAL_GPIO_WritePin(CATHODE_1, GPIO_PIN_RESET);
					HAL_GPIO_WritePin(CATHODE_2, GPIO_PIN_RESET);
					HAL_GPIO_WritePin(CATHODE_3, GPIO_PIN_RESET);
					HAL_GPIO_WritePin(CATHODE_4, GPIO_PIN_SET);
			}
			osDelay(2);
		}
		/* if sleep mode: turn off cathodes to turn off display */
		else if(state == 0) {
			HAL_GPIO_WritePin(CATHODE_1, GPIO_PIN_RESET);
			HAL_GPIO_WritePin(CATHODE_2, GPIO_PIN_RESET);
			HAL_GPIO_WritePin(CATHODE_3, GPIO_PIN_RESET);
			HAL_GPIO_WritePin(CATHODE_4, GPIO_PIN_RESET);
			/* set sleep signal for sleep state in FSM */
			osSignalSet(stateThread, sleepSignal);
		}
	}
}

/**
  * @brief  Thread for FSM control
  */
void stateController(void const * argument) {
	while(1) {
		/* waiting for signal that a key has been pressed */
		osSignalWait(buttonSignal,osWaitForever);
		buttonSignal = 0;
		/* wait for semaphore, then when received save value from keypad handler into variable and release semaphore */
		osSemaphoreWait(keyboardButtonSemaphore, osWaitForever);
		key	= valueReturned;
		valueReturned	= -1;
		osSemaphoreRelease(keyboardButtonSemaphore);
		switch(state) {
			case 0: //sleep mode
				/* wait for sleep signal from ledDriver (after cathodes have been turned off) */
				osSignalWait(sleepSignal, osWaitForever);
				/* Stop timer for PWM generation */
				HAL_TIM_PWM_Stop(&htim3, TIM_CHANNEL_1);
				/* Stop ADC interrupt triggered by timer */
				HAL_ADC_Stop_IT(&hadc1);
				//osThreadTerminate(displayThread);
				//osThreadTerminate(generalTimerThread);
				break;
			case 1: //awake (reset) mode
				//reset all LEDs to 0
				outputDigits[0] =0;
				outputDigits[1] =0;
				outputDigits[2] =0;
				outputDigits[3] =0;
				/* if a key between 0-9 has been pressed, move to next state (first digit inputted) */
				if(key > -1 && key < 10 && keyValid) {
					buttonPressed = key;
					keyValid = 0;
					state = 2;
				}
				/* if star held and sleep flag is on, turn off keypad */
				else if(key == 10 && sleepKey && keyValid) {
					sleepKey = 0;
					keyValid = 0;
					state = 0;
				}
				break;
			case 2: //first digit
				/* input button pressed from state 1 into last digit */
				outputDigits[0] =0;
				outputDigits[1] =0;
				outputDigits[2] =0;
				outputDigits[3] = buttonPressed;
				/* if star held and sleep flag is on, turn off keypad */
				if(key == 10 && sleepKey && keyValid) {
					sleepKey = 0;
					keyValid = 0;
					state = 0;
				}
				/* if star held and restart flag is on, go to state 1 to reset keypad */
				else if(key == 10 && restartKey && keyValid) {
					restartKey = 0;
					keyValid = 0;
					state = 1;
				}
				/* if star pressed, delete inputted value by returning to reset state */
				else if(key == 10 && keyValid) {
					keyValid = 0;
					state = 1;
				}
				/* if a key between 0-9 has been pressed, move to next state (second digit inputted) */
				else if(key>-1 && key < 10 && keyValid) {
					buttonPressedOld = buttonPressed;
					buttonPressed = key;
					keyValid = 0;
					state = 3;
				}
				break;
			case 3: //second digit
				/* input button pressed from state 1 into third digit and input button from state 2 into last digit */
				outputDigits[0] =0;
				outputDigits[1] =0;
				outputDigits[2] = buttonPressedOld;
				outputDigits[3] = buttonPressed;
				/* if star held and sleep flag is on, turn off keypad */
				if(key == 10 && sleepKey && keyValid) {
					keyValid = 0;
					sleepKey = 0;
					state = 0;
				}
				/* if star held and restart flag is on, reset keypad by moving to state 1*/
				else if(key == 10 && restartKey && keyValid) {
					keyValid = 0;
					restartKey = 0;
					state = 1;
				}
				/* if star pressed, delete inputted value by returning to reset state */
				else if(key == 10 && keyValid) {
					buttonPressed = buttonPressedOld;
					keyValid = 0;
					state = 2;
				}
				/* if pound pressed, move to state 4 to submit value */
				else if(key == 11 && keyValid) {
					keyValid = 0;
					state = 4;
				}
				break;
			case 4:
				/* submit user inputte value to controller */
				valueReturned = -1;
				mathInput = (float) (buttonPressedOld + (buttonPressed/10.0));
				pwmController(mathInput, mathOutput);
				/* if star held and sleep flag is on, turn off keypad */
				if(key == 10 && sleepKey && keyValid) {
					keyValid = 0;
					sleepKey = 0;
					state = 0;
				}
				/* if star held and restart flag is on, reset keypad by moving to state 1*/
				else if(key == 10 && restartKey && keyValid) {
					keyValid = 0;
					sleepKey = 0;
					state = 1;
				}
				break;
		}
	}
}

/**
  * @brief  Thread to retrieve value inputting on keypad
  */
void getKeypadValue(void const * argument) {
	static int counter = 0;
	while(1) {
			/*go through rows and turn each one on, then check columns for input*/
			for(counter =0; counter < 4; counter++) {
				if (counter == 0){
					HAL_GPIO_WritePin(ROW_1, GPIO_PIN_SET );
					HAL_GPIO_WritePin(ROW_2, GPIO_PIN_RESET );
					HAL_GPIO_WritePin(ROW_3, GPIO_PIN_RESET );
					HAL_GPIO_WritePin(ROW_4, GPIO_PIN_RESET );
				}
				else if (counter == 1) {
					HAL_GPIO_WritePin(ROW_1, GPIO_PIN_RESET );
					HAL_GPIO_WritePin(ROW_2, GPIO_PIN_SET );
					HAL_GPIO_WritePin(ROW_3, GPIO_PIN_RESET );
					HAL_GPIO_WritePin(ROW_4, GPIO_PIN_RESET );
				}
				else if (counter == 2){
					HAL_GPIO_WritePin(ROW_1, GPIO_PIN_RESET );
					HAL_GPIO_WritePin(ROW_2, GPIO_PIN_RESET );
					HAL_GPIO_WritePin(ROW_3, GPIO_PIN_SET );
					HAL_GPIO_WritePin(ROW_4, GPIO_PIN_RESET );
				}
				else if (counter == 3){
					HAL_GPIO_WritePin(ROW_1, GPIO_PIN_RESET );
					HAL_GPIO_WritePin(ROW_2, GPIO_PIN_RESET );
					HAL_GPIO_WritePin(ROW_3, GPIO_PIN_RESET );
					HAL_GPIO_WritePin(ROW_4, GPIO_PIN_SET );
				}

				/*read the columns: if column is set to high, that means the button in the output row that is on is being pressed, so save that value
					wait until keyboard semaphore is free */
				osSemaphoreWait(keyboardButtonSemaphore, osWaitForever);
				if (HAL_GPIO_ReadPin(COLUMN_1) > 0) {
						valueReturned = keypadMatrix[0][counter];
						osSignalSet(stateThread,buttonSignal);
				}
				else if (HAL_GPIO_ReadPin(COLUMN_2) > 0) {
						valueReturned = keypadMatrix[1][counter];
						osSignalSet(stateThread,buttonSignal);
				}
				else if (HAL_GPIO_ReadPin(COLUMN_3) > 0) {
						valueReturned = keypadMatrix[2][counter];
						osSignalSet(stateThread,buttonSignal);
				}
				osSemaphoreRelease(keyboardButtonSemaphore);
			}

	}
}

/**
  * @brief  PWM controller that controls the pulse of the PWM generation depending on user inputted value from keypad
	* @param  input: inputted value from keypad
	*	@param	output: RMS value from filter and c_math
  * @retval None
  */
void pwmController(float input, float output) {
	controllerTarget = input;
	/*calculate error between user inputted value and RMS value from ADC conversion*/
	error = input - output;
	float pValue = 100.0f;

	/*adjust pulseWidth until within 5% of user inputted value*/
	while(error >= 0.04*controllerTarget) {

		/*if user value is higher than RMS value, increase pulse width*/
		if(error > 0 && pulseWidth < 8400) {
			pulseWidth+=5;
		}
		/*if user value is less than RMS value, decrease pulse width*/
		if(error < 0 && pulseWidth > 0) {
			pulseWidth-=5;
		}
		pulseWidth = (int) (error * pValue);
		/*set pulse width of PWM generation to the continuously updating result*/
		pwmSetValue(pulseWidth);
		/*update error with every updating pulse width value*/
		error = input-mathOutput;
		/*display value*/
		valueParse(mathOutput);
		/* if star held and sleep flag is on, turn off keypad */
				if(key == 10 && sleepKey && keyValid) {
					keyValid = 0;
					sleepKey = 0;
					state = 0;
				}
				/* if star held and restart flag is on, reset keypad by moving to state 1*/
				else if(key == 10 && restartKey && keyValid) {
					keyValid = 0;
					sleepKey = 0;
					state = 1;
				}
		/*if at 5% of user inputted value, stop updating*/
		if(error == 0.04*controllerTarget) {
			HAL_ADC_Stop(&hadc1);
			//HAL_TIM_PWM_Stop(&htim3,TIM_CHANNEL_1);
			break;
		}
	}
}

/**
  * @brief  Reconfigure timer for PWM generation and set the pulse width to the output of the controller
	* @param  pulseValue: the pulse width returned from the PWM controller
  * @retval None
  */
void pwmSetValue(uint16_t pulseValue) {

		TIM_OC_InitTypeDef sConfigOC;

    sConfigOC.OCMode = TIM_OCMODE_PWM1;
    sConfigOC.Pulse = pulseValue;
    sConfigOC.OCPolarity = TIM_OCPOLARITY_HIGH;
    sConfigOC.OCFastMode = TIM_OCFAST_DISABLE;

    HAL_TIM_PWM_ConfigChannel(&htim3, &sConfigOC, TIM_CHANNEL_1);
    HAL_TIM_PWM_Start(&htim3, TIM_CHANNEL_1);
}
/**
  * @brief  Retrive ADC conversion value and put through filter and RMS calculation
  * @param  hadc: pointer to ADC handler
  * @retval None
  */
void HAL_ADC_ConvCpltCallback(ADC_HandleTypeDef* hadc){

	adcConversion = HAL_ADC_GetValue(hadc);

	FIR_C(adcConversion, &filterOutput);

	filterOutput = filterOutput * 3.0 / 255.0; /* 8bit conversion, Vref at 3V */

	c_math(filterOutput);

}

/**
  * @brief  Filter inputted value from ADC conversion
	* @param  input: value from ADC conversion
	* @param 	output: pointer to array of outputted filter values
  * @retval None
  */
void FIR_C(uint32_t input, float *output) {

	float coefficients[5] = {0.2,0.2,0.2,0.2,0.2};
	/* moving window */
	for(int i = 0; i < 4; i++){
		x[i] = x[i+1];
	}
	/* set new input to final value in window */
	x[4] = input;
	float returnedOutput = 0;
	/* sum of products of coefficient and input */
	for(int i = 0; i < 5; i++){
		returnedOutput += x[i] * coefficients[4-i];
	}
	*output = returnedOutput;
}

/**
  * @brief  RMS calculation
  * @param  input: value from filter output
  * @retval None
  */
void c_math(float input){
	static int mathCounter;

	rms_value += input*input;
	/*increment for every rms_value to find length*/
	mathCounter++;

	/*rms is square root of (sum of squares divided by length)*/
	mathOutput = (float) (sqrt(rms_value/((float)(mathCounter))));

}

/**
  * @brief  Parsing of values returned from RMS calculation for display on LED display
	* @param  mathOutput: value returned from RMS calculation
  * @retval None
  */
void valueParse(float mathOutput){

	/* first, second, third and fourth digit from RMS calculation */
	int firstDigit, secondDigit, thirdDigit, fourthDigit = 0;

	float temp = mathOutput;

	/*parse first, second and third digits in calculated value*/
	firstDigit = (int) (temp);
	secondDigit = (int) ((temp - (float)(firstDigit)) * 10.0f);
	thirdDigit = (int) ((((temp - (float)(firstDigit)) * 10.0f) - (float)(secondDigit)) * 10.0f);
	fourthDigit = (int) ((((((temp - (float)(firstDigit)) * 10.0f) - (float)(secondDigit)) * 10.0f - (float)(thirdDigit))) * 10.0f);

	/*set digits to output variables for LED display	*/
	outputDigits[0] = firstDigit;
	outputDigits[1] = secondDigit;
	outputDigits[2] = thirdDigit;
	outputDigits[3] = fourthDigit;
}
/* USER CODE END 4 */

///* StartDefaultTask function */
//void StartDefaultTask(void const * argument)
//{

//  /* USER CODE BEGIN 5 */
//  /* Infinite loop */
//  for(;;)
//  {
//    osDelay(1);
//  }
//  /* USER CODE END 5 */
//}

///* StartTask02 function */
//void StartTask02(void const * argument)
//{
//  /* USER CODE BEGIN StartTask02 */
//  /* Infinite loop */
//  for(;;)
//  {
//    osDelay(1);
//  }
//  /* USER CODE END StartTask02 */
//}

///* StartTask03 function */
//void StartTask03(void const * argument)
//{
//  /* USER CODE BEGIN StartTask03 */
//  /* Infinite loop */
//  for(;;)
//  {
//    osDelay(1);
//  }
//  /* USER CODE END StartTask03 */
//}

void _Error_Handler(char * file, int line)
{
  while(1)
  {
  }
}

/************************ (C) COPYRIGHT STMicroelectronics *****END OF FILE****/
